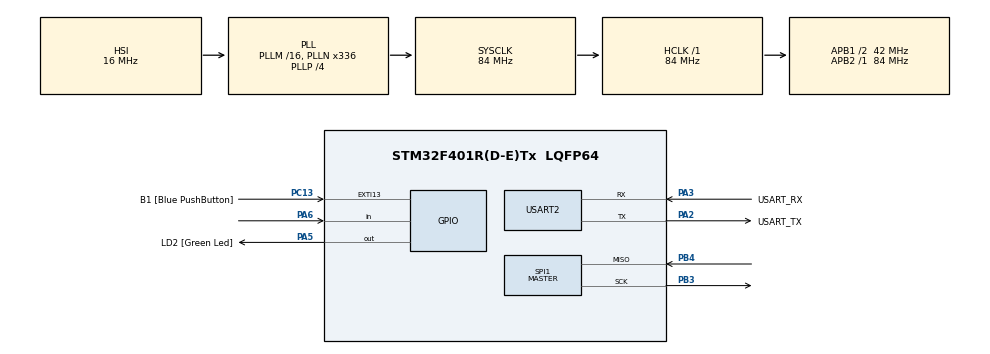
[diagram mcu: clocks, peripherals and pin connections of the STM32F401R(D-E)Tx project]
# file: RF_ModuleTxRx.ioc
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Mcu.Family=STM32F4
Mcu.Name=STM32F401R(D-E)Tx
Mcu.Package=LQFP64
NVIC.PriorityGroup=NVIC_PRIORITYGROUP_0
PA13.GPIO_Label=TMS
PA13.Mode=Serial_Wire
PA13.Signal=SYS_JTMS-SWDIO
PA14.GPIO_Label=TCK
PA14.Mode=Serial_Wire
PA14.Signal=SYS_JTCK-SWCLK
PA2.GPIO_Label=USART_TX
PA2.GPIO_Mode=GPIO_MODE_AF_PP
PA2.GPIO_PuPd=GPIO_NOPULL
PA2.GPIO_Speed=GPIO_SPEED_FREQ_LOW
PA2.Mode=Asynchronous
PA2.Signal=USART2_TX
PA3.GPIO_Label=USART_RX
PA3.GPIO_Mode=GPIO_MODE_AF_PP
PA3.GPIO_PuPd=GPIO_NOPULL
PA3.GPIO_Speed=GPIO_SPEED_FREQ_LOW
PA3.Mode=Asynchronous
PA3.Signal=USART2_RX
PA5.GPIO_Label=LD2 [Green Led]
PA5.GPIO_Mode=GPIO_MODE_OUTPUT_PP
PA5.GPIO_PuPd=GPIO_NOPULL
PA5.GPIO_Speed=GPIO_SPEED_FREQ_LOW
PA5.Signal=GPIO_Output
PA6.Signal=GPIO_Input
PB3.Mode=RX_Only_Simplex_Unidirect_Master
PB3.Signal=SPI1_SCK
PB4.Mode=RX_Only_Simplex_Unidirect_Master
PB4.Signal=SPI1_MISO
PB5.Signal=SPI1_MOSI
PC13-ANTI_TAMP.GPIO_Label=B1 [Blue PushButton]
PC13-ANTI_TAMP.GPIO_ModeDefaultEXTI=GPIO_MODE_IT_FALLING
PC13-ANTI_TAMP.GPIO_PuPd=GPIO_NOPULL
PC13-ANTI_TAMP.Signal=GPXTI13
PC14-OSC32_IN.Mode=LSE-External-Oscillator
PC14-OSC32_IN.Signal=RCC_OSC32_IN
PC15-OSC32_OUT.Mode=LSE-External-Oscillator
PC15-OSC32_OUT.Signal=RCC_OSC32_OUT
PH0\ -\ OSC_IN.Mode=HSE-External-Clock-Source
PH0\ -\ OSC_IN.Signal=RCC_OSC_IN
PH1\ -\ OSC_OUT.Mode=HSE-External-Clock-Source
PH1\ -\ OSC_OUT.Signal=RCC_OSC_OUT
ProjectManager.HeapSize=0x200
ProjectManager.StackSize=0x400
ProjectManager.TargetToolchain=STM32CubeIDE
RCC.48MHZClocksFreq_Value=48000000
RCC.AHBFreq_Value=84000000
RCC.APB1CLKDivider=RCC_HCLK_DIV2
RCC.APB1Freq_Value=42000000
RCC.APB1TimFreq_Value=84000000
RCC.APB2Freq_Value=84000000
RCC.APB2TimFreq_Value=84000000
RCC.CortexFreq_Value=84000000
RCC.HCLKFreq_Value=84000000
RCC.HSE_VALUE=8000000
RCC.HSI_VALUE=16000000
RCC.PLLN=336
RCC.PLLP=RCC_PLLP_DIV4
RCC.PLLQ=7
RCC.SYSCLKFreq_VALUE=84000000
RCC.SYSCLKSource=RCC_SYSCLKSOURCE_PLLCLK
RCC.VCOOutputFreq_Value=336000000
SPI1.Direction=SPI_DIRECTION_2LINES_RXONLY
SPI1.Mode=SPI_MODE_MASTER
SPI1.VirtualType=VM_MASTER
USART2.VirtualMode=VM_ASYNC
board=NUCLEO-F401RE

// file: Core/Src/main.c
/* USER CODE BEGIN Header */
/**
  ******************************************************************************
  * @file           : main.c
  * @brief          : Main program body
  ******************************************************************************
  * @attention
  *
  * <h2><center>&copy; Copyright (c) 2020 STMicroelectronics.
  * All rights reserved.</center></h2>
  *
  * This software component is licensed by ST under BSD 3-Clause license,
  * the "License"; You may not use this file except in compliance with the
  * License. You may obtain a copy of the License at:
  *                        opensource.org/licenses/BSD-3-Clause
  *
  ******************************************************************************
  */
/* USER CODE END Header */

#include "main.h"

/* USER CODE BEGIN Includes */
#include <stdio.h>
/* USER CODE END Includes */

SPI_HandleTypeDef hspi1;

UART_HandleTypeDef huart2;

/* USER CODE BEGIN PV */

// 25AA040A instructions
const uint8_t EEPROM_READ = 0b00000011;
const uint8_t EEPROM_WRITE = 0b00000010;
const uint8_t EEPROM_WRDI = 0b00000100;
const uint8_t EEPROM_WREN = 0b00000110;
const uint8_t EEPROM_RDSR = 0b00000101;
const uint8_t EEPROM_WRSR = 0b00000001;

/* USER CODE END PV */

void SystemClock_Config(void);
static void MX_GPIO_Init(void);
static void MX_SPI1_Init(void);
static void MX_USART2_UART_Init(void);

int main(void)
{
  /* USER CODE BEGIN 1 */
  char uart_buf[50];
  int uart_buf_len;
  char spi_buf[20];
  uint8_t addr;
  uint8_t wip;

  /* USER CODE END 1 */

  /* MCU Configuration--------------------------------------------------------*/

  /* Reset of all peripherals, Initializes the Flash interface and the Systick. */
  HAL_Init();

  /* Configure the system clock */
  SystemClock_Config();

  /* Initialize all configured peripherals */
  MX_GPIO_Init();
  MX_SPI1_Init();
  MX_USART2_UART_Init();
  /* USER CODE BEGIN 2 */

  // CS pin should default high
  HAL_GPIO_WritePin(GPIOB, GPIO_PIN_6, GPIO_PIN_SET);

  // Say something
  uart_buf_len = sprintf(uart_buf, "SPI Test\r\n");
  HAL_UART_Transmit(&huart2, (uint8_t *)uart_buf, uart_buf_len, 100);

  // Enable write enable latch (allow write operations)
  HAL_GPIO_WritePin(GPIOB, GPIO_PIN_6, GPIO_PIN_RESET);
  HAL_SPI_Transmit(&hspi1, (uint8_t *)&EEPROM_WREN, 1, 100);
  HAL_GPIO_WritePin(GPIOB, GPIO_PIN_6, GPIO_PIN_SET);

  // Read status register
  HAL_GPIO_WritePin(GPIOB, GPIO_PIN_6, GPIO_PIN_RESET);
  HAL_SPI_Transmit(&hspi1, (uint8_t *)&EEPROM_RDSR, 1, 100);
  HAL_SPI_Receive(&hspi1, (uint8_t *)spi_buf, 1, 100);
  HAL_GPIO_WritePin(GPIOB, GPIO_PIN_6, GPIO_PIN_SET);

  // Print out status register
  uart_buf_len = sprintf(uart_buf,
                          "Status: 0xx\r\n",
                          (unsigned int)spi_buf[0]);
  HAL_UART_Transmit(&huart2, (uint8_t *)uart_buf, uart_buf_len, 100);

  // Test bytes to write to EEPROM
  spi_buf[0] = 0xAB;
  spi_buf[1] = 0xCD;
  spi_buf[2] = 0xEF;

  // Set starting address
  addr = 0x05;

  // Write 3 bytes starting at given address
  HAL_GPIO_WritePin(GPIOB, GPIO_PIN_6, GPIO_PIN_RESET);
  HAL_SPI_Transmit(&hspi1, (uint8_t *)&EEPROM_WRITE, 1, 100);
  HAL_SPI_Transmit(&hspi1, (uint8_t *)&addr, 1, 100);
  HAL_SPI_Transmit(&hspi1, (uint8_t *)spi_buf, 3, 100);
  HAL_GPIO_WritePin(GPIOB, GPIO_PIN_6, GPIO_PIN_SET);

  // Clear buffer
  spi_buf[0] = 0;
  spi_buf[1] = 0;
  spi_buf[2] = 0;

  // Wait until WIP bit is cleared
  wip = 1;
  while (wip)
  {
    // Read status register
    HAL_GPIO_WritePin(GPIOB, GPIO_PIN_6, GPIO_PIN_RESET);
    HAL_SPI_Transmit(&hspi1, (uint8_t *)&EEPROM_RDSR, 1, 100);
    HAL_SPI_Receive(&hspi1, (uint8_t *)spi_buf, 1, 100);
    HAL_GPIO_WritePin(GPIOB, GPIO_PIN_6, GPIO_PIN_SET);

    // Mask out WIP bit
    wip = spi_buf[0] & 0b00000001;
  }

  // Read the 3 bytes back
  HAL_GPIO_WritePin(GPIOB, GPIO_PIN_6, GPIO_PIN_RESET);
  HAL_SPI_Transmit(&hspi1, (uint8_t *)&EEPROM_READ, 1, 100);
  HAL_SPI_Transmit(&hspi1, (uint8_t *)&addr, 1, 100);
  HAL_SPI_Receive(&hspi1, (uint8_t *)spi_buf, 3, 100);
  HAL_GPIO_WritePin(GPIOB, GPIO_PIN_6, GPIO_PIN_SET);

  // Print out bytes read
  uart_buf_len = sprintf(uart_buf,
                          "0xx 0xx 0xx\r\n",
                          (unsigned int)spi_buf[0],
                          (unsigned int)spi_buf[1],
                          (unsigned int)spi_buf[2]);
  HAL_UART_Transmit(&huart2, (uint8_t *)uart_buf, uart_buf_len, 100);

  // Read status register
  HAL_GPIO_WritePin(GPIOB, GPIO_PIN_6, GPIO_PIN_RESET);
  HAL_SPI_Transmit(&hspi1, (uint8_t *)&EEPROM_RDSR, 1, 100);
  HAL_SPI_Receive(&hspi1, (uint8_t *)spi_buf, 1, 100);
  HAL_GPIO_WritePin(GPIOB, GPIO_PIN_6, GPIO_PIN_SET);

  // Print out status register
  uart_buf_len = sprintf(uart_buf,
                          "Status: 0xx\r\n",
                          (unsigned int)spi_buf[0]);
  HAL_UART_Transmit(&huart2, (uint8_t *)uart_buf, uart_buf_len, 100);

  /* USER CODE END 2 */

  /* Infinite loop */
  while (1)
  {

  }
}
void SystemClock_Config(void)
{
  RCC_OscInitTypeDef RCC_OscInitStruct = {0};
  RCC_ClkInitTypeDef RCC_ClkInitStruct = {0};

  /** Configure the main internal regulator output voltage
  */
  __HAL_RCC_PWR_CLK_ENABLE();
  __HAL_PWR_VOLTAGESCALING_CONFIG(PWR_REGULATOR_VOLTAGE_SCALE2);

  /** Initializes the RCC Oscillators according to the specified parameters
  * in the RCC_OscInitTypeDef structure.
  */
  RCC_OscInitStruct.OscillatorType = RCC_OSCILLATORTYPE_HSI;
  RCC_OscInitStruct.HSIState = RCC_HSI_ON;
  RCC_OscInitStruct.HSICalibrationValue = RCC_HSICALIBRATION_DEFAULT;
  RCC_OscInitStruct.PLL.PLLState = RCC_PLL_ON;
  RCC_OscInitStruct.PLL.PLLSource = RCC_PLLSOURCE_HSI;
  RCC_OscInitStruct.PLL.PLLM = 16;
  RCC_OscInitStruct.PLL.PLLN = 336;
  RCC_OscInitStruct.PLL.PLLP = RCC_PLLP_DIV4;
  RCC_OscInitStruct.PLL.PLLQ = 7;
  if (HAL_RCC_OscConfig(&RCC_OscInitStruct) != HAL_OK)
  {
    Error_Handler();
  }

  /** Initializes the CPU, AHB and APB buses clocks
  */
  RCC_ClkInitStruct.ClockType = RCC_CLOCKTYPE_HCLK|RCC_CLOCKTYPE_SYSCLK
                              |RCC_CLOCKTYPE_PCLK1|RCC_CLOCKTYPE_PCLK2;
  RCC_ClkInitStruct.SYSCLKSource = RCC_SYSCLKSOURCE_PLLCLK;
  RCC_ClkInitStruct.AHBCLKDivider = RCC_SYSCLK_DIV1;
  RCC_ClkInitStruct.APB1CLKDivider = RCC_HCLK_DIV2;
  RCC_ClkInitStruct.APB2CLKDivider = RCC_HCLK_DIV1;

  if (HAL_RCC_ClockConfig(&RCC_ClkInitStruct, FLASH_LATENCY_2) != HAL_OK)
  {
    Error_Handler();
  }
}

static void MX_SPI1_Init(void)
{

  /* SPI1 parameter configuration*/
  hspi1.Instance = SPI1;
  hspi1.Init.Mode = SPI_MODE_MASTER;
  hspi1.Init.Direction = SPI_DIRECTION_2LINES_RXONLY;
  hspi1.Init.DataSize = SPI_DATASIZE_8BIT;
  hspi1.Init.CLKPolarity = SPI_POLARITY_LOW;
  hspi1.Init.CLKPhase = SPI_PHASE_1EDGE;
  hspi1.Init.NSS = SPI_NSS_SOFT;
  hspi1.Init.BaudRatePrescaler = SPI_BAUDRATEPRESCALER_2;
  hspi1.Init.FirstBit = SPI_FIRSTBIT_MSB;
  hspi1.Init.TIMode = SPI_TIMODE_DISABLE;
  hspi1.Init.CRCCalculation = SPI_CRCCALCULATION_DISABLE;
  hspi1.Init.CRCPolynomial = 10;
  if (HAL_SPI_Init(&hspi1) != HAL_OK)
  {
    Error_Handler();
  }

}

static void MX_USART2_UART_Init(void)
{

  huart2.Instance = USART2;
  huart2.Init.BaudRate = 115200;
  huart2.Init.WordLength = UART_WORDLENGTH_8B;
  huart2.Init.StopBits = UART_STOPBITS_1;
  huart2.Init.Parity = UART_PARITY_NONE;
  huart2.Init.Mode = UART_MODE_TX_RX;
  huart2.Init.HwFlowCtl = UART_HWCONTROL_NONE;
  huart2.Init.OverSampling = UART_OVERSAMPLING_16;
  if (HAL_UART_Init(&huart2) != HAL_OK)
  {
    Error_Handler();
  }

}

static void MX_GPIO_Init(void)
{
  GPIO_InitTypeDef GPIO_InitStruct = {0};

  /* GPIO Ports Clock Enable */
  __HAL_RCC_GPIOC_CLK_ENABLE();
  __HAL_RCC_GPIOH_CLK_ENABLE();
  __HAL_RCC_GPIOA_CLK_ENABLE();
  __HAL_RCC_GPIOB_CLK_ENABLE();

  /*Configure GPIO pin Output Level */
  HAL_GPIO_WritePin(LD2_GPIO_Port, LD2_Pin, GPIO_PIN_RESET);

  /*Configure GPIO pin : B1_Pin */
  GPIO_InitStruct.Pin = B1_Pin;
  GPIO_InitStruct.Mode = GPIO_MODE_IT_FALLING;
  GPIO_InitStruct.Pull = GPIO_NOPULL;
  HAL_GPIO_Init(B1_GPIO_Port, &GPIO_InitStruct);

  /*Configure GPIO pin : LD2_Pin */
  GPIO_InitStruct.Pin = LD2_Pin;
  GPIO_InitStruct.Mode = GPIO_MODE_OUTPUT_PP;
  GPIO_InitStruct.Pull = GPIO_NOPULL;
  GPIO_InitStruct.Speed = GPIO_SPEED_FREQ_LOW;
  HAL_GPIO_Init(LD2_GPIO_Port, &GPIO_InitStruct);

}

void Error_Handler(void)
{
  __disable_irq();
  while (1)
  {
  }
}
